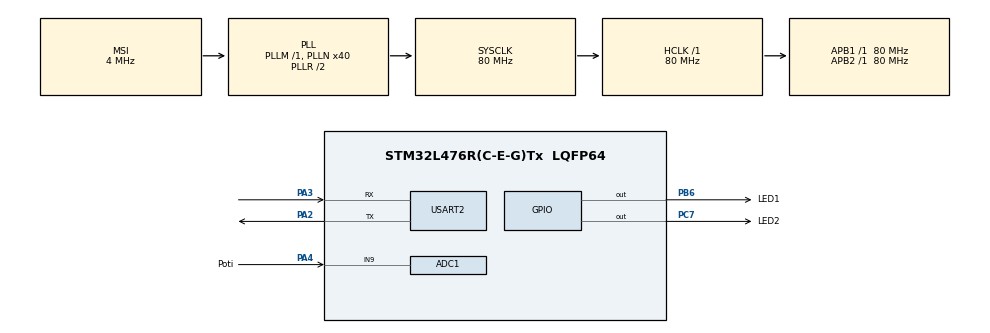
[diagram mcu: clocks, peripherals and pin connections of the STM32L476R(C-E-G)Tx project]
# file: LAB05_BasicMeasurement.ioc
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ADC1.Channel-0\#ChannelRegularConversion=ADC_CHANNEL_9
ADC1.NbrOfConversionFlag=1
ADC1.OffsetNumber-0\#ChannelRegularConversion=ADC_OFFSET_NONE
ADC1.Rank-0\#ChannelRegularConversion=1
ADC1.SamplingTime-0\#ChannelRegularConversion=ADC_SAMPLETIME_2CYCLES_5
ADC1.master=1
Mcu.Family=STM32L4
Mcu.Name=STM32L476R(C-E-G)Tx
Mcu.Package=LQFP64
NVIC.PriorityGroup=NVIC_PRIORITYGROUP_4
PA2.Mode=Asynchronous
PA2.Signal=USART2_TX
PA3.Mode=Asynchronous
PA3.Signal=USART2_RX
PA4.GPIO_Label=Poti
PA4.Signal=ADCx_IN9
PB6.GPIO_Label=LED1
PB6.Signal=GPIO_Output
PC7.GPIO_Label=LED2
PC7.Signal=GPIO_Output
ProjectManager.HeapSize=0x200
ProjectManager.StackSize=0x400
ProjectManager.TargetToolchain=STM32CubeIDE
RCC.ADCFreq_Value=32000000
RCC.AHBFreq_Value=80000000
RCC.APB1Freq_Value=80000000
RCC.APB1TimFreq_Value=80000000
RCC.APB2Freq_Value=80000000
RCC.APB2TimFreq_Value=80000000
RCC.CortexFreq_Value=80000000
RCC.HCLKFreq_Value=80000000
RCC.HSE_VALUE=8000000
RCC.HSI_VALUE=16000000
RCC.LSE_VALUE=32768
RCC.MSI_VALUE=4000000
RCC.PLLN=40
RCC.PLLSAI1N=16
RCC.SYSCLKFreq_VALUE=80000000
RCC.SYSCLKSource=RCC_SYSCLKSOURCE_PLLCLK
RCC.USBFreq_Value=32000000
RCC.VCOOutputFreq_Value=160000000
SH.ADCx_IN9.0=ADC1_IN9,IN9-Single-Ended
USART2.VirtualMode-Asynchronous=VM_ASYNC
board=custom

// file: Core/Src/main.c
/* USER CODE BEGIN Header */
/**
 * @file main.c
 * @brief Basic ADC measurement exercise.
 * @author Philipp Schilk, 2023
 */
/* USER CODE END Header */
#include "main.h"

/* USER CODE BEGIN Includes */
#include <inttypes.h>
#include <stdio.h>
/* USER CODE END Includes */

/* USER CODE BEGIN PD */
#define TODO 1
/* USER CODE END PD */

ADC_HandleTypeDef hadc1;

UART_HandleTypeDef huart2;

void SystemClock_Config(void);
static void MX_GPIO_Init(void);
static void MX_USART2_UART_Init(void);
static void MX_ADC1_Init(void);

int main(void) {

  /* MCU Configuration--------------------------------------------------------*/

  /* Reset of all peripherals, Initializes the Flash interface and the Systick. */
  HAL_Init();

  /* Configure the system clock */
  SystemClock_Config();

  /* Initialize all configured peripherals */
  MX_GPIO_Init();
  MX_USART2_UART_Init();
  MX_ADC1_Init();

  /* Infinite loop */
  /* USER CODE BEGIN WHILE */
  while (1) {

    // TODO: Start a ADC conversion. Be sure to check the HAL function's return
    //       value. If an error occurs print a status message and call the
    //       Error_Handler() function.
    if (HAL_ADC_Start(&hadc1) != HAL_OK) {
      printf("ERROR initialising ADC\r\n");
      Error_Handler();
    }

    // TODO: Wait for the ADC conversion to finish. Be sure to check the HAL
    //       function's return value. If an error occurs print a status message
    //       and call the Error_Handler() function.
    if (HAL_ADC_PollForConversion(&hadc1, 20) != HAL_OK) {
      printf("ERROR polling ADC\r\n");
      Error_Handler();
    }

    // TODO: Retrieve the conversion result.
    uint32_t result_raw = HAL_ADC_GetValue(&hadc1);

    // NOTE: We don't need to stop the ADC measurement since we have not
    //       configured the ADC for continuous conversions. It will stop
    //       automatically.

    // TODO: Convert the result to volts, assuming the ADC reference voltage
    //       is 3.3V.
    // HINT: Make sure you are aware of the types of your variables and when
    //       they are converted during calculations.
    float result_V = ((float)result_raw / (float)(0x1000 - 1)) * 3.3; // 4095

    // TODO: Print the result.
    printf("Result: %f\r\n", result_V);

    // TODO: Turn on LED1 if the voltage is greater than one third of the maximal
    // voltage, and LED2 if the voltage is greater than two thirds of the maximal
    // voltage:
    if (result_V > 3.3 / 3.0) {
      HAL_GPIO_WritePin(LED1_GPIO_Port, LED1_Pin, GPIO_PIN_SET);
    } else {
      HAL_GPIO_WritePin(LED1_GPIO_Port, LED1_Pin, GPIO_PIN_RESET);
    }
    if (result_V > 3.3 * 2.0 / 3.0) {
      HAL_GPIO_WritePin(LED2_GPIO_Port, LED2_Pin, GPIO_PIN_SET);
    } else {
      HAL_GPIO_WritePin(LED2_GPIO_Port, LED2_Pin, GPIO_PIN_RESET);
    }

    HAL_Delay(300);

    /* USER CODE END WHILE */

  }
}

void SystemClock_Config(void) {
  RCC_OscInitTypeDef RCC_OscInitStruct = {0};
  RCC_ClkInitTypeDef RCC_ClkInitStruct = {0};

  /** Configure the main internal regulator output voltage
   */
  if (HAL_PWREx_ControlVoltageScaling(PWR_REGULATOR_VOLTAGE_SCALE1) != HAL_OK) {
    Error_Handler();
  }

  /** Initializes the RCC Oscillators according to the specified parameters
   * in the RCC_OscInitTypeDef structure.
   */
  RCC_OscInitStruct.OscillatorType = RCC_OSCILLATORTYPE_MSI;
  RCC_OscInitStruct.MSIState = RCC_MSI_ON;
  RCC_OscInitStruct.MSICalibrationValue = 0;
  RCC_OscInitStruct.MSIClockRange = RCC_MSIRANGE_6;
  RCC_OscInitStruct.PLL.PLLState = RCC_PLL_ON;
  RCC_OscInitStruct.PLL.PLLSource = RCC_PLLSOURCE_MSI;
  RCC_OscInitStruct.PLL.PLLM = 1;
  RCC_OscInitStruct.PLL.PLLN = 40;
  RCC_OscInitStruct.PLL.PLLP = RCC_PLLP_DIV7;
  RCC_OscInitStruct.PLL.PLLQ = RCC_PLLQ_DIV2;
  RCC_OscInitStruct.PLL.PLLR = RCC_PLLR_DIV2;
  if (HAL_RCC_OscConfig(&RCC_OscInitStruct) != HAL_OK) {
    Error_Handler();
  }

  /** Initializes the CPU, AHB and APB buses clocks
   */
  RCC_ClkInitStruct.ClockType = RCC_CLOCKTYPE_HCLK | RCC_CLOCKTYPE_SYSCLK | RCC_CLOCKTYPE_PCLK1 | RCC_CLOCKTYPE_PCLK2;
  RCC_ClkInitStruct.SYSCLKSource = RCC_SYSCLKSOURCE_PLLCLK;
  RCC_ClkInitStruct.AHBCLKDivider = RCC_SYSCLK_DIV1;
  RCC_ClkInitStruct.APB1CLKDivider = RCC_HCLK_DIV1;
  RCC_ClkInitStruct.APB2CLKDivider = RCC_HCLK_DIV1;

  if (HAL_RCC_ClockConfig(&RCC_ClkInitStruct, FLASH_LATENCY_4) != HAL_OK) {
    Error_Handler();
  }
}

static void MX_ADC1_Init(void) {

  ADC_MultiModeTypeDef multimode = {0};
  ADC_ChannelConfTypeDef sConfig = {0};

  /** Common config
   */
  hadc1.Instance = ADC1;
  hadc1.Init.ClockPrescaler = ADC_CLOCK_ASYNC_DIV1;
  hadc1.Init.Resolution = ADC_RESOLUTION_12B;
  hadc1.Init.DataAlign = ADC_DATAALIGN_RIGHT;
  hadc1.Init.ScanConvMode = ADC_SCAN_DISABLE;
  hadc1.Init.EOCSelection = ADC_EOC_SINGLE_CONV;
  hadc1.Init.LowPowerAutoWait = DISABLE;
  hadc1.Init.ContinuousConvMode = DISABLE;
  hadc1.Init.NbrOfConversion = 1;
  hadc1.Init.DiscontinuousConvMode = DISABLE;
  hadc1.Init.ExternalTrigConv = ADC_SOFTWARE_START;
  hadc1.Init.ExternalTrigConvEdge = ADC_EXTERNALTRIGCONVEDGE_NONE;
  hadc1.Init.DMAContinuousRequests = DISABLE;
  hadc1.Init.Overrun = ADC_OVR_DATA_PRESERVED;
  hadc1.Init.OversamplingMode = DISABLE;
  if (HAL_ADC_Init(&hadc1) != HAL_OK) {
    Error_Handler();
  }

  /** Configure the ADC multi-mode
   */
  multimode.Mode = ADC_MODE_INDEPENDENT;
  if (HAL_ADCEx_MultiModeConfigChannel(&hadc1, &multimode) != HAL_OK) {
    Error_Handler();
  }

  /** Configure Regular Channel
   */
  sConfig.Channel = ADC_CHANNEL_9;
  sConfig.Rank = ADC_REGULAR_RANK_1;
  sConfig.SamplingTime = ADC_SAMPLETIME_2CYCLES_5;
  sConfig.SingleDiff = ADC_SINGLE_ENDED;
  sConfig.OffsetNumber = ADC_OFFSET_NONE;
  sConfig.Offset = 0;
  if (HAL_ADC_ConfigChannel(&hadc1, &sConfig) != HAL_OK) {
    Error_Handler();
  }
}

static void MX_USART2_UART_Init(void) {

  huart2.Instance = USART2;
  huart2.Init.BaudRate = 115200;
  huart2.Init.WordLength = UART_WORDLENGTH_8B;
  huart2.Init.StopBits = UART_STOPBITS_1;
  huart2.Init.Parity = UART_PARITY_NONE;
  huart2.Init.Mode = UART_MODE_TX_RX;
  huart2.Init.HwFlowCtl = UART_HWCONTROL_NONE;
  huart2.Init.OverSampling = UART_OVERSAMPLING_16;
  huart2.Init.OneBitSampling = UART_ONE_BIT_SAMPLE_DISABLE;
  huart2.AdvancedInit.AdvFeatureInit = UART_ADVFEATURE_NO_INIT;
  if (HAL_UART_Init(&huart2) != HAL_OK) {
    Error_Handler();
  }
}

static void MX_GPIO_Init(void) {
  GPIO_InitTypeDef GPIO_InitStruct = {0};

  /* GPIO Ports Clock Enable */
  __HAL_RCC_GPIOA_CLK_ENABLE();
  __HAL_RCC_GPIOC_CLK_ENABLE();
  __HAL_RCC_GPIOB_CLK_ENABLE();

  /*Configure GPIO pin Output Level */
  HAL_GPIO_WritePin(LED2_GPIO_Port, LED2_Pin, GPIO_PIN_RESET);

  /*Configure GPIO pin Output Level */
  HAL_GPIO_WritePin(LED1_GPIO_Port, LED1_Pin, GPIO_PIN_RESET);

  /*Configure GPIO pin : LED2_Pin */
  GPIO_InitStruct.Pin = LED2_Pin;
  GPIO_InitStruct.Mode = GPIO_MODE_OUTPUT_PP;
  GPIO_InitStruct.Pull = GPIO_NOPULL;
  GPIO_InitStruct.Speed = GPIO_SPEED_FREQ_LOW;
  HAL_GPIO_Init(LED2_GPIO_Port, &GPIO_InitStruct);

  /*Configure GPIO pin : LED1_Pin */
  GPIO_InitStruct.Pin = LED1_Pin;
  GPIO_InitStruct.Mode = GPIO_MODE_OUTPUT_PP;
  GPIO_InitStruct.Pull = GPIO_NOPULL;
  GPIO_InitStruct.Speed = GPIO_SPEED_FREQ_LOW;
  HAL_GPIO_Init(LED1_GPIO_Port, &GPIO_InitStruct);

}

void Error_Handler(void) {
  __disable_irq();
  while (1) {
  }
}
